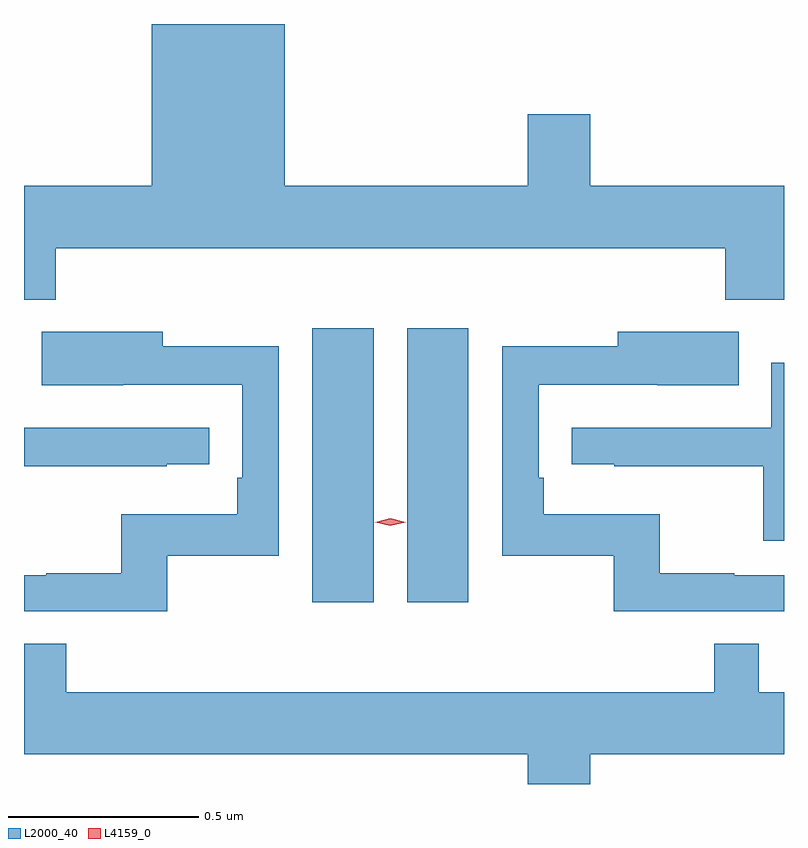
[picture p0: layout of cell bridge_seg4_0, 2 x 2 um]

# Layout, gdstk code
import gdstk
lib = gdstk.Library(unit=1e-6, precision=1e-09)
def R(c, l, rs):  # rectangles x0, y0, x1, y1
    for r in rs: c.add(gdstk.rectangle(r[:2], r[2:], *l))
def P(c, l, *ps):  # polygons
    for p in ps: c.add(gdstk.Polygon(p, *l))
L2000_40 = (2000, 40)
L4159_0 = (4159, 0)

bridge_seg4_0 = lib.new_cell('bridge_seg4_0')
R(bridge_seg4_0, L2000_40, [(1087.517,805.212,1087.678,805.933), (1087.766,805.212,1087.927,805.933)])
P(bridge_seg4_0, L2000_40, [(1086.842,806.144),(1088.603,806.144),(1088.603,806.009),(1088.758,806.009),(1088.758,806.308),(1088.248,806.308),(1088.248,806.497),(1088.084,806.497),(1088.084,806.308),(1087.444,806.308),(1087.444,806.734),(1087.094,806.734),(1087.094,806.308),(1086.758,806.308),(1086.758,806.009),(1086.842,806.009)],
  [(1087.135,805.335),(1087.428,805.335),(1087.428,805.886),(1087.123,805.886),(1087.123,805.924),(1086.805,805.924),(1086.805,805.784),(1087.019,805.784),(1087.019,805.785),(1087.332,805.785),(1087.332,805.54),(1087.319,805.54),(1087.319,805.444),(1087.014,805.444),(1087.014,805.289),(1086.817,805.289),(1086.817,805.284),(1086.758,805.284),(1086.758,805.188),(1087.135,805.188)],
  [(1088.758,805.284),(1088.627,805.284),(1088.627,805.289),(1088.431,805.289),(1088.431,805.444),(1088.126,805.444),(1088.126,805.54),(1088.112,805.54),(1088.112,805.785),(1088.425,805.785),(1088.425,805.784),(1088.639,805.784),(1088.639,805.924),(1088.321,805.924),(1088.321,805.886),(1088.016,805.886),(1088.016,805.335),(1088.31,805.335),(1088.31,805.188),(1088.758,805.188)],
  [(1088.758,805.843),(1088.724,805.843),(1088.724,805.671),(1088.199,805.671),(1088.199,805.575),(1088.311,805.575),(1088.311,805.57),(1088.704,805.57),(1088.704,805.374),(1088.758,805.374)],
  [(1087.133,805.575),(1087.246,805.575),(1087.246,805.671),(1086.758,805.671),(1086.758,805.57),(1087.133,805.57)],
  [(1088.248,804.812),(1088.758,804.812),(1088.758,804.976),(1088.691,804.976),(1088.691,805.103),(1088.575,805.103),(1088.575,804.976),(1086.869,804.976),(1086.869,805.103),(1086.758,805.103),(1086.758,804.812),(1088.084,804.812),(1088.084,804.734),(1088.248,804.734)])
P(bridge_seg4_0, L4159_0, [(1087.722,805.413),(1087.682,805.423),(1087.682,805.423),(1087.682,805.423),(1087.722,805.433),(1087.762,805.423),(1087.762,805.423),(1087.762,805.423)])

lib.write_gds('bridge_seg4_0.gds')
